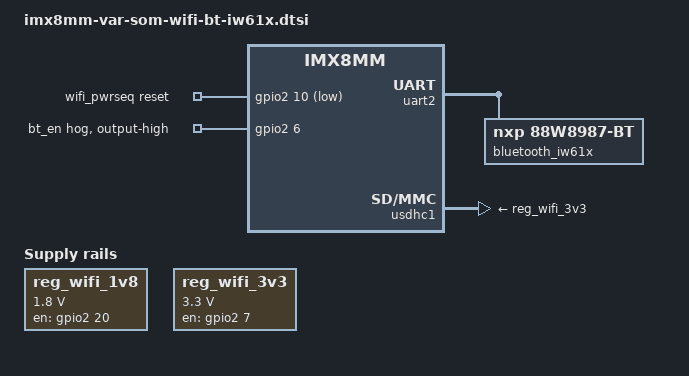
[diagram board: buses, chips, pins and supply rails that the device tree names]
// SPDX-License-Identifier: (GPL-2.0+ OR MIT)
/*
 * Copyright 2026 Variscite Ltd.
 */

/ {
	reg_wifi_1v8: regulator-wifi-1v8 {
		compatible = "regulator-fixed";
		pinctrl-names = "default";
		pinctrl-0 = <&pinctrl_wifi_pwr_1v8>;
		regulator-name = "WIFI_PWR_1V8";
		regulator-min-microvolt = <1800000>;
		regulator-max-microvolt = <1800000>;
		gpio = <&gpio2 20 GPIO_ACTIVE_HIGH>;
		enable-active-high;
	};

	reg_wifi_3v3: regulator-wifi-3v3 {
		compatible = "regulator-fixed";
		pinctrl-names = "default";
		pinctrl-0 = <&pinctrl_wifi_pwr_3v3>;
		regulator-name = "WIFI_PWR_3V3";
		regulator-min-microvolt = <3300000>;
		regulator-max-microvolt = <3300000>;
		gpio = <&gpio2 7 GPIO_ACTIVE_HIGH>;
		enable-active-high;
	};

	wifi_pwrseq: wifi-pwrseq {
		compatible = "mmc-pwrseq-simple";
		pinctrl-names = "default";
		pinctrl-0 = <&pinctrl_wifi_en>;
		reset-gpios = <&gpio2 10 GPIO_ACTIVE_LOW>;
	};
};

&uart2 {
	pinctrl-0 = <&pinctrl_uart2>;

	bluetooth_iw61x: bluetooth_iw61x {
		compatible = "nxp,88w8987-bt";
		/* Mux BT_EN to GPIO here: gpio-hog nodes do not apply pinctrl */
		pinctrl-names = "default";
		pinctrl-0 = <&pinctrl_bt_en>;
		status = "okay";
	};
};

/* WIFI */
&usdhc1 {
	pinctrl-0 = <&pinctrl_usdhc1>;
	pinctrl-1 = <&pinctrl_usdhc1_100mhz>;
	pinctrl-2 = <&pinctrl_usdhc1_200mhz>;
	vqmmc-supply = <&reg_wifi_1v8>;
	vmmc-supply = <&reg_wifi_3v3>;
	mmc-pwrseq = <&wifi_pwrseq>;
};

&iomuxc {
	pinctrl_bt_en: btengrp {
		fsl,pins = <
			MX8MM_IOMUXC_SD1_DATA4_GPIO2_IO6		0xc1	/* BT_REG_ON       */
		>;
	};

	pinctrl_wifi_en: wifiengrp {
		fsl,pins = <
			MX8MM_IOMUXC_SD1_RESET_B_GPIO2_IO10		0xc1	/* WIFI_REG_ON  */
		>;
	};

	pinctrl_wifi_pwr_1v8: wifipwr1v8grp {
		fsl,pins = <
			MX8MM_IOMUXC_SD2_WP_GPIO2_IO20		0x140	/* WIFI_1V8_PWR_EN */
		>;
	};

	pinctrl_wifi_pwr_3v3: wifipwr3v3grp {
		fsl,pins = <
			MX8MM_IOMUXC_SD1_DATA5_GPIO2_IO7		0xc1	/* WIFI_3V3_PWR_EN */
		>;
	};
};

&gpio2 {
	bt_en_hog: bt-en-hog {
		gpio-hog;
		gpios = <6 GPIO_ACTIVE_HIGH>;
		output-high;
		line-name = "bt_en";
	};
};
